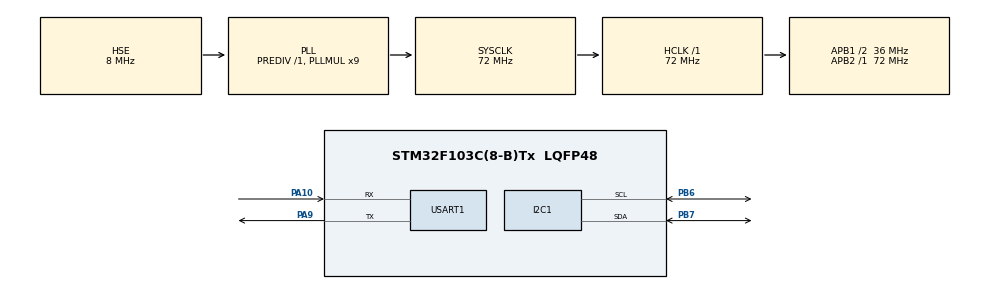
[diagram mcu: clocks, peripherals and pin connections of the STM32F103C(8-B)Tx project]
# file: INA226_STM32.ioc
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Mcu.Family=STM32F1
Mcu.Name=STM32F103C(8-B)Tx
Mcu.Package=LQFP48
NVIC.PriorityGroup=NVIC_PRIORITYGROUP_4
PA10.Mode=Asynchronous
PA10.Signal=USART1_RX
PA13.Mode=Serial_Wire
PA13.Signal=SYS_JTMS-SWDIO
PA14.Mode=Serial_Wire
PA14.Signal=SYS_JTCK-SWCLK
PA9.Mode=Asynchronous
PA9.Signal=USART1_TX
PB6.Mode=I2C
PB6.Signal=I2C1_SCL
PB7.Mode=I2C
PB7.Signal=I2C1_SDA
PD0-OSC_IN.Mode=HSE-External-Oscillator
PD0-OSC_IN.Signal=RCC_OSC_IN
PD1-OSC_OUT.Mode=HSE-External-Oscillator
PD1-OSC_OUT.Signal=RCC_OSC_OUT
ProjectManager.HeapSize=0x200
ProjectManager.StackSize=0x400
ProjectManager.TargetToolchain=MDK-ARM V5.32
RCC.AHBFreq_Value=72000000
RCC.APB1CLKDivider=RCC_HCLK_DIV2
RCC.APB1Freq_Value=36000000
RCC.APB1TimFreq_Value=72000000
RCC.APB2Freq_Value=72000000
RCC.APB2TimFreq_Value=72000000
RCC.HCLKFreq_Value=72000000
RCC.PLLMUL=RCC_PLL_MUL9
RCC.PLLSourceVirtual=RCC_PLLSOURCE_HSE
RCC.SYSCLKFreq_VALUE=72000000
RCC.SYSCLKSource=RCC_SYSCLKSOURCE_PLLCLK
RCC.USBFreq_Value=72000000
USART1.VirtualMode=VM_ASYNC
board=custom

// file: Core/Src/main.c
/* USER CODE BEGIN Header */
/**
  ******************************************************************************
  * @file           : main.c
  * @brief          : Main program body
  ******************************************************************************
  * @attention
  *
  * Copyright (c) 2026 STMicroelectronics.
  * All rights reserved.
  *
  * This software is licensed under terms that can be found in the LICENSE file
  * in the root directory of this software component.
  * If no LICENSE file comes with this software, it is provided AS-IS.
  *
  ******************************************************************************
  */
/* USER CODE END Header */
#include "main.h"
#include "i2c.h"
#include "usart.h"
#include "gpio.h"

/* USER CODE BEGIN Includes */
#include "ina226.h"
#include "stdio.h"
/* USER CODE END Includes */

/* USER CODE BEGIN PTD */
INA226_HandleTypeDef ina226;
/* USER CODE END PTD */

void SystemClock_Config(void);

int main(void)
{

  /* MCU Configuration--------------------------------------------------------*/

  /* Reset of all peripherals, Initializes the Flash interface and the Systick. */
  HAL_Init();

  /* Configure the system clock */
  SystemClock_Config();

  /* Initialize all configured peripherals */
  MX_GPIO_Init();
  MX_I2C1_Init();
  MX_USART1_UART_Init();
  /* USER CODE BEGIN 2 */
    printf("INA226 检测中...\r\n");

    if (INA226_Init(&ina226, &hi2c1, INA226_DEFAULT_ADDR) == HAL_OK) {
        printf("INA226 检测成功！芯片正常工作\r\n");
        INA226_SetCalibration(&ina226, 8.0f, 0.01f);
    } else {
        printf("INA226 检测失败！请检查连接和地址\r\n");
        while (1) {
            HAL_Delay(1000);
        }
    }
  /* USER CODE END 2 */

  /* Infinite loop */
  while (1)
  {

    /* USER CODE BEGIN 3 */
		        float V = INA226_GetBusVoltage(&ina226);
        float mV_shunt = INA226_GetShuntVoltage(&ina226) * 1000.0f;
        float A = mV_shunt / 10.0f;

        printf("%.2f V  \t%.2f mV \t%.4f A  \r\n", V, mV_shunt, A);

        HAL_Delay(1000);
  }
  /* USER CODE END 3 */
}

void SystemClock_Config(void)
{
  RCC_OscInitTypeDef RCC_OscInitStruct = {0};
  RCC_ClkInitTypeDef RCC_ClkInitStruct = {0};

  /** Initializes the RCC Oscillators according to the specified parameters
  * in the RCC_OscInitTypeDef structure.
  */
  RCC_OscInitStruct.OscillatorType = RCC_OSCILLATORTYPE_HSE;
  RCC_OscInitStruct.HSEState = RCC_HSE_ON;
  RCC_OscInitStruct.HSEPredivValue = RCC_HSE_PREDIV_DIV1;
  RCC_OscInitStruct.HSIState = RCC_HSI_ON;
  RCC_OscInitStruct.PLL.PLLState = RCC_PLL_ON;
  RCC_OscInitStruct.PLL.PLLSource = RCC_PLLSOURCE_HSE;
  RCC_OscInitStruct.PLL.PLLMUL = RCC_PLL_MUL9;
  if (HAL_RCC_OscConfig(&RCC_OscInitStruct) != HAL_OK)
  {
    Error_Handler();
  }

  /** Initializes the CPU, AHB and APB buses clocks
  */
  RCC_ClkInitStruct.ClockType = RCC_CLOCKTYPE_HCLK|RCC_CLOCKTYPE_SYSCLK
                              |RCC_CLOCKTYPE_PCLK1|RCC_CLOCKTYPE_PCLK2;
  RCC_ClkInitStruct.SYSCLKSource = RCC_SYSCLKSOURCE_PLLCLK;
  RCC_ClkInitStruct.AHBCLKDivider = RCC_SYSCLK_DIV1;
  RCC_ClkInitStruct.APB1CLKDivider = RCC_HCLK_DIV2;
  RCC_ClkInitStruct.APB2CLKDivider = RCC_HCLK_DIV1;

  if (HAL_RCC_ClockConfig(&RCC_ClkInitStruct, FLASH_LATENCY_2) != HAL_OK)
  {
    Error_Handler();
  }
}

/* USER CODE BEGIN 4 */
int fputc(int ch, FILE *f)
{
    HAL_UART_Transmit(&huart1, (uint8_t *)&ch, 1, 0xffff);
    return ch;
}
/* USER CODE END 4 */

void Error_Handler(void)
{
  __disable_irq();
  while (1)
  {
  }
}
